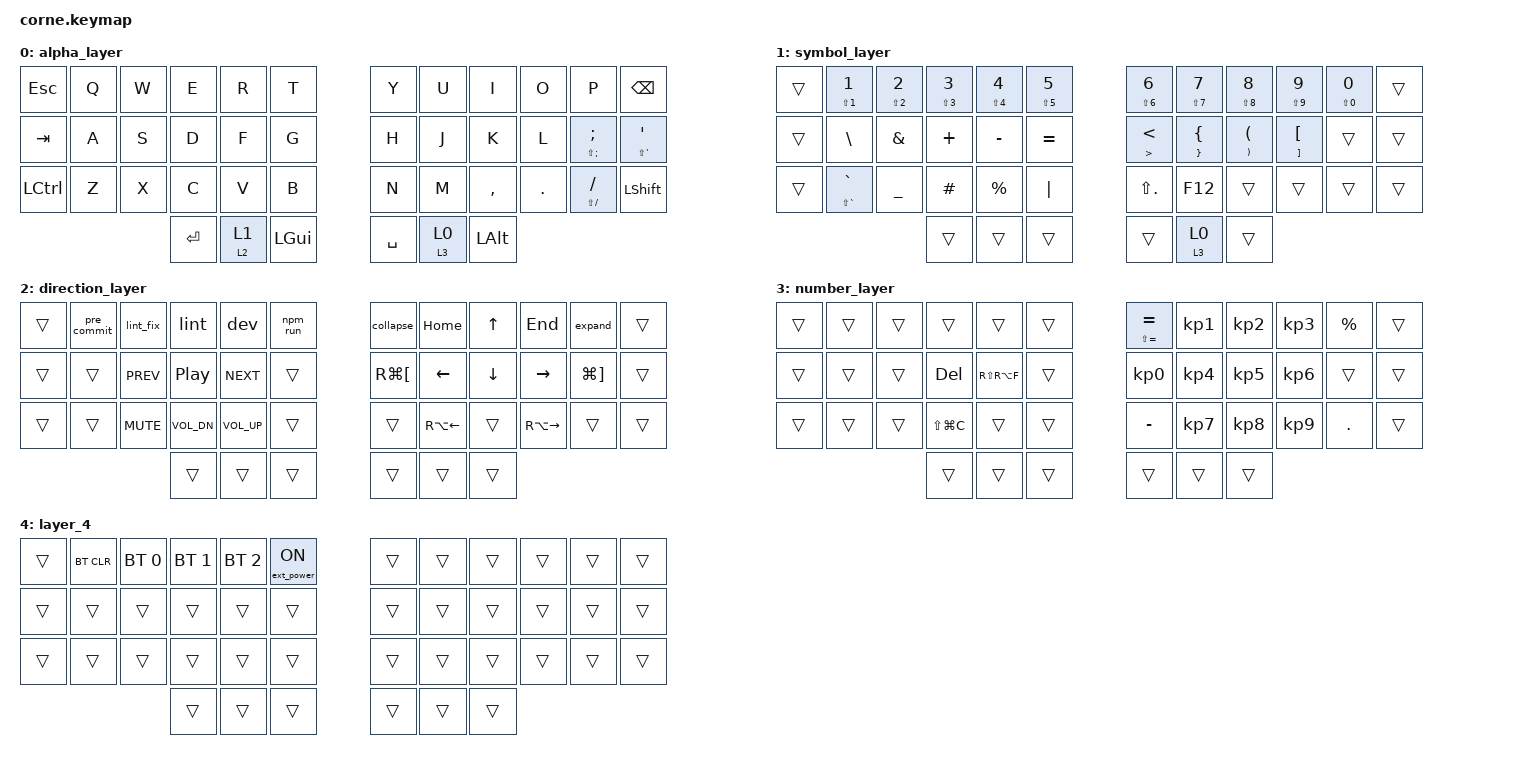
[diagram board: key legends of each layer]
/*
 * Copyright (c) 2020 The ZMK Contributors
 *
 * SPDX-License-Identifier: MIT
 */

#include <behaviors.dtsi>
#include <dt-bindings/zmk/bt.h>
#include <dt-bindings/zmk/ext_power.h>
#include <dt-bindings/zmk/keys.h>

/ {
    behaviors {
        td: tapdance {
            compatible = "zmk,behavior-hold-tap";
            label = "TAPDANCE";
            #binding-cells = <2>;
            tapping-term-ms = <200>;
            quick_tap_ms = <0>;
            flavor = "tap-preferred";
            bindings = <&kp>, <&kp>;
        };

        mo_tog: behavior_mo_tog {
            compatible = "zmk,behavior-hold-tap";
            label = "mo_tog";
            #binding-cells = <2>;
            flavor = "hold-preferred";
            tapping-term-ms = <200>;
            bindings = <&mo>, <&to>;
        };
    };

    combos {
        compatible = "zmk,combos";

        combo_caps_word {
            timeout-ms = <100>;
            bindings = <&caps_word>;
            key-positions = <17 18 16 19>;
        };

        combo_esc {
            timeout-ms = <100>;
            bindings = <&kp ESC>;
            key-positions = <1 2>;
        };

        combo_tab {
            timeout-ms = <100>;
            bindings = <&kp TAB>;
            key-positions = <14 15>;
        };

        combo_lhand_ctrl {
            timeout-ms = <100>;
            bindings = <&kp LCTRL>;
            key-positions = <26 28>;
        };

        combo_rhand_ctrl {
            timeout-ms = <100>;
            bindings = <&kp LCTRL>;
            key-positions = <31 33>;
        };

        combo_backspace {
            timeout-ms = <100>;
            bindings = <&kp BACKSPACE>;
            key-positions = <8 9>;
        };

        combo_quotes {
            timeout-ms = <100>;
            bindings = <&td DOUBLE_QUOTES SINGLE_QUOTE>;
            key-positions = <20 21>;
        };

        combo_lhand_shift {
            timeout-ms = <100>;
            bindings = <&kp LSHFT>;
            key-positions = <16 15>;
        };

        combo_rhand_shift {
            timeout-ms = <100>;
            bindings = <&kp LSHIFT>;
            key-positions = <19 20>;
        };

        caps_lock {
            timeout-ms = <100>;
            bindings = <&kp CAPSLOCK>;
            key-positions = <15 16 19 20>;
        };

        alt_combo {
            timeout-ms = <100>;
            bindings = <&kp LALT>;
            key-positions = <28 29>;
        };

        delete {
            bindings = <&kp DELETE>;
            key-positions = <6 7>;
        };
    };

    macros {
        lint: lint {
            compatible = "zmk,behavior-macro";
            #binding-cells = <0>;
            bindings = <&kp L &kp I &kp N &kp T>;
            label = "LINT";
        };

        dev: dev {
            compatible = "zmk,behavior-macro";
            #binding-cells = <0>;
            bindings = <&kp D &kp E &kp V>;
            label = "DEV";
        };

        collapse: collapse {
            compatible = "zmk,behavior-macro";
            #binding-cells = <0>;
            bindings = <&kp LG(K) &kp LG(LEFT_BRACKET)>;
            label = "COLLAPSE";
        };

        expand: expand {
            compatible = "zmk,behavior-macro";
            #binding-cells = <0>;
            bindings = <&kp LG(K) &kp LG(RIGHT_BRACKET)>;
            label = "EXPAND";
        };

        lint_fix: lint_fix {
            compatible = "zmk,behavior-macro";
            #binding-cells = <0>;
            bindings = <&kp L &kp I &kp N &kp T &kp COLON &kp F &kp I &kp X>;
            label = "LINT_FIX";
        };

        pre_commit: pre_commit {
            compatible = "zmk,behavior-macro";
            #binding-cells = <0>;
            bindings = <&kp P &kp R &kp E &kp MINUS &kp C &kp O &kp M &kp M &kp I &kp T>;
            label = "PRE_COMMIT";
        };

        npm_run: npm_run {
            compatible = "zmk,behavior-macro";
            #binding-cells = <0>;
            bindings = <&kp N &kp P &kp M &kp SPACE &kp R &kp U &kp N &kp SPACE>;
            label = "NPM_RUN";
        };
    };

    keymap {
        compatible = "zmk,keymap";

        alpha_layer {
            // ----------------------------------- QWERTY -------------------------------------------------
            // | ESC  |  Q  |  W  |  E  |  R  |  T  |   |  Y  |  U   |  I  |  O  |  P  | BKSP |
            // | TAB  |  A  |  S  |  D  |  F  |  G  |   |  H  |  J   |  K  |  L  |  ;  |  '   |
            // | CTRL |  Z  |  X  |  C  |  V  |  B  |   |  N  |  M   |  ,  |  .  |  /  | ALT  |
            //                    | ENT | LWR | GUI |   | SPC |      |shift|

            bindings = <
&kp ESC    &kp Q  &kp W  &kp E    &kp R        &kp T       &kp Y      &kp U        &kp I      &kp O    &kp P              &kp BSPC
&kp TAB    &kp A  &kp S  &kp D    &kp F        &kp G       &kp H      &kp J        &kp K      &kp L    &td LS(SEMI) SEMI  &td LS(SQT) SQT
&kp LCTRL  &kp Z  &kp X  &kp C    &kp V        &kp B       &kp N      &kp M        &kp COMMA  &kp DOT  &td LS(FSLH) FSLH  &kp LSHFT
                         &kp RET  &mo_tog 2 1  &kp LGUI    &kp SPACE  &mo_tog 3 0  &kp LALT
            >;
        };

        symbol_layer {
            // -----------------------------------------------------------------------------------------
            // |      |  1  |  2  |  3  |  4  |  5  |   |  6  |  7   |  8  |  9  |  0  |      | 
            // |      |  \  |  &  |  +  |  -  |  =  |   |  <  |  {   |  (  |  [  |     |      |
            // |      |  `  |  _  |  #  |  %  | "|" |   |  >  | f12  |     |     |     |      |
            //                    | GUI | RSE | SPC |   | ENT |QWERTY| ALT |

            bindings = <
&trans  &td LS(N1) N1        &td LS(N2) N2  &td LS(N3) N3  &td LS(N4) N4  &td LS(N5) N5    &td LS(N6) N6   &td LS(N7) N7  &td LS(N8) N8  &td LS(N9) N9  &td LS(N0) N0  &trans
&trans  &kp BSLH             &kp AMPS       &kp PLUS       &kp MINUS      &kp EQUAL        &td GT LT       &td RBRC LBRC  &td RPAR LPAR  &td RBKT LBKT  &trans         &trans
&trans  &td LS(GRAVE) GRAVE  &kp UNDER      &kp HASH       &kp PRCNT      &kp PIPE         &kp LS(PERIOD)  &kp F12        &trans         &trans         &trans         &trans
                                            &trans         &trans         &trans           &trans          &mo_tog 3 0    &trans
            >;
        };

        direction_layer {
            bindings = <
&trans  &pre_commit  &lint_fix   &lint             &dev          &npm_run    &collapse             &kp HOME      &kp UP    &kp END        &expand                &trans
&trans  &trans       &kp C_PREV  &kp C_PLAY_PAUSE  &kp C_NEXT    &trans      &kp RG(LEFT_BRACKET)  &kp LEFT      &kp DOWN  &kp RIGHT      &kp LG(RIGHT_BRACKET)  &trans
&trans  &trans       &kp K_MUTE  &kp C_VOL_DN      &kp C_VOL_UP  &trans      &trans                &kp RA(LEFT)  &trans    &kp RA(RIGHT)  &trans                 &trans
                                 &trans            &trans        &trans      &trans                &trans        &trans
            >;
        };

        number_layer {
            bindings = <
&trans  &trans  &trans  &trans         &trans         &trans    &td LS(EQUAL) EQUAL  &kp KP_NUMBER_1  &kp KP_NUMBER_2  &kp KP_NUMBER_3  &kp PERCENT  &trans
&trans  &trans  &trans  &kp DELETE     &kp RS(RA(F))  &trans    &kp KP_NUMBER_0      &kp KP_NUMBER_4  &kp KP_NUMBER_5  &kp KP_NUMBER_6  &trans       &trans
&trans  &trans  &trans  &kp LS(LG(C))  &trans         &trans    &kp MINUS            &kp KP_NUMBER_7  &kp KP_NUMBER_8  &kp KP_NUMBER_9  &kp DOT      &trans
                        &trans         &trans         &trans    &trans               &trans           &trans
            >;
        };

        layer_4 {
            bindings = <
&trans  &bt BT_CLR  &bt BT_SEL 0  &bt BT_SEL 1  &bt BT_SEL 2  &ext_power EP_ON    &trans  &trans  &trans  &trans  &trans  &trans
&trans  &trans      &trans        &trans        &trans        &trans              &trans  &trans  &trans  &trans  &trans  &trans
&trans  &trans      &trans        &trans        &trans        &trans              &trans  &trans  &trans  &trans  &trans  &trans
                                  &trans        &trans        &trans              &trans  &trans  &trans
            >;
        };
    };

    conditional_layers {
        compatible = "zmk,conditional-layers";

        bt {
            if-layers = <2 3>;
            then-layer = <4>;
        };
    };
};

/*
*
* keys to add
*
* mouse keys 
* cut copy paste undo redo vsCode shortcuts for things
* &bt BT_CLR
*/
